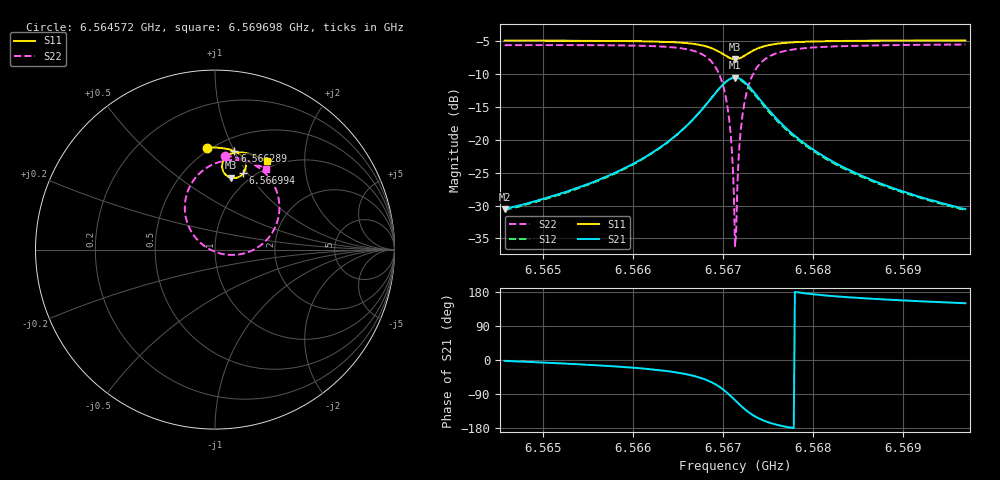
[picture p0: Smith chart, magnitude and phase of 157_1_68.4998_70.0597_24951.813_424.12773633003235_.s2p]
#  HZ  S  RI  R  50.00
! Rohde & Schwarz Vector Network Analyzer
! Rohde-Schwarz,ZNB20-2Port,1311601062101988,3.16
! Created: UTC 3/20/2024, 5:10:46 PM
! freq[Hz]  re:S11  im:S11  re:S21  im:S21  re:S12  im:S12  re:S22  im:S22
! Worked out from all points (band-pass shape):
!   401 points, 6.564572 GHz to 6.569698 GHz, reference 50 ohm
!   highest |S21| = -10.52 dB at 6.567135 GHz (marker M1); lowest = -30.6 dB at 6.564572 GHz (marker M2)
!   |S21| within 3 dB of the highest: 6.56688 GHz to 6.567392 GHz (511.7 kHz wide, 0.00779 % of centre)
!   lowest |S11| = -7.7 dB at 6.567135 GHz (marker M3), VSWR 2.39, Z = 42.1 + j40.6 ohm
!   |S11| at or under -10 dB: nowhere
!   |S22| runs from -36.2 to -5.5 dB; largest |S21 - S12| = 0.014
!   S11 on the Smith chart (normalised r, x): 6.564572 GHz: 0.48, +0.80; 6.566289 GHz: 0.63, +1.00; 6.566994 GHz: 0.89, +0.95; 6.569698 GHz: 0.90, +1.31
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6.5645721e9  -0.0464 0.5671  0.0296 -0.00111  0.0292 -0.00164  0.0543 0.5229
6.5654306e9  0.025 0.5672  0.0433 -0.00911  0.0426 -0.00953  0.1381 0.5074
6.5662892e9  0.1077 0.549  0.0772 -0.0389  0.0761 -0.0397  0.2586 0.4448
6.5665839e9  0.143 0.527  0.1002 -0.0756  0.0987 -0.0771  0.3209 0.3724
6.5667889e9  0.167 0.4925  0.1136 -0.1358  0.1107 -0.1387  0.3582 0.256
6.5669042e9  0.171 0.458  0.1022 -0.196  0.0971 -0.1998  0.3421 0.1415
6.5669939e9  0.1577 0.4247  0.0618 -0.2531  0.0529 -0.2563  0.2682 0.0349
6.5670324e9  0.1446 0.4117  0.0311 -0.2744  0.0202 -0.2762  0.211 -0.00309
6.5670708e9  0.1268 0.4022  -0.00794 -0.2886  -0.0205 -0.2878  0.1392 -0.0262
6.5670964e9  0.1129 0.3991  -0.0372 -0.292  -0.0503 -0.2892  0.0861 -0.0298
6.567122e9  0.0982 0.399  -0.0675 -0.2895  -0.0805 -0.2845  0.0323 -0.0223
6.5671349e9  0.091 0.4002  -0.0826 -0.2861  -0.0952 -0.2798  0.00613 -0.0143
6.5671477e9  0.0841 0.4022  -0.097 -0.2812  -0.1093 -0.2739  -0.0191 -0.00367
6.5671605e9  0.0772 0.405  -0.1111 -0.275  -0.1227 -0.2664  -0.0428 0.00909
6.5671861e9  0.065 0.4128  -0.1362 -0.2585  -0.1462 -0.2484  -0.085 0.0413
6.5672246e9  0.0509 0.4276  -0.1656 -0.2275  -0.1728 -0.2156  -0.1319 0.0999
6.5672758e9  0.0411 0.451  -0.188 -0.1816  -0.1911 -0.1693  -0.1634 0.1832
6.5673399e9  0.0408 0.478  -0.1941 -0.1291  -0.1937 -0.1185  -0.1649 0.2754
6.5675705e9  0.0787 0.5292  -0.1486 -0.0287  -0.1452 -0.0241  -0.063 0.4442
6.5679934e9  0.142 0.5423  -0.0847 0.00933  -0.0827 0.0105  0.0782 0.4984
6.5688519e9  0.2244 0.5229  -0.0411 0.0158  -0.0402 0.016  0.2095 0.4819
6.5696976e9  0.2878 0.4927  -0.0257 0.0149  -0.0251 0.015  0.2864 0.448
